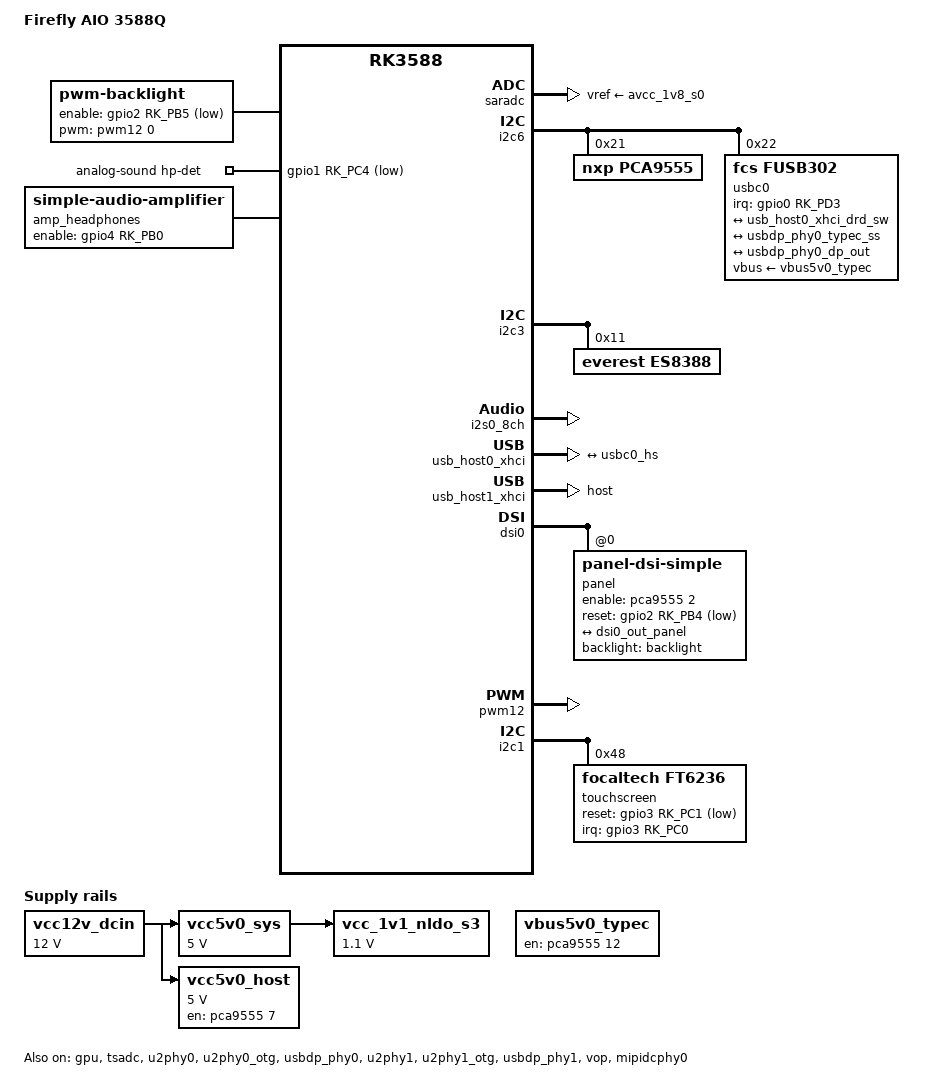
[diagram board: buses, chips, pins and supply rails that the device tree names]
/dts-v1/;

#include <dt-bindings/gpio/gpio.h>
#include <dt-bindings/input/input.h>
#include <dt-bindings/pinctrl/rockchip.h>
#include <dt-bindings/soc/rockchip,vop2.h>
#include <dt-bindings/usb/pd.h>

#include "rk3588-firefly-icore-3588q.dtsi"

/ {
	model = "Firefly AIO 3588Q";
	compatible = "firefly,icore-3588q", "rockchip,rk3588";

	aliases {
		mmc0 = &sdhci;
	};

	chosen {
		stdout-path = "serial2:1500000n8";
	};

	vcc12v_dcin: regulator-vcc12v-dcin {
		compatible = "regulator-fixed";
		regulator-always-on;
		regulator-boot-on;
		regulator-min-microvolt = <12000000>;
		regulator-max-microvolt = <12000000>;
		regulator-name = "vcc12v_dcin";
	};

	vcc5v0_sys: regulator-vcc5v0-sys {
		compatible = "regulator-fixed";
		regulator-always-on;
		regulator-boot-on;
		regulator-min-microvolt = <5000000>;
		regulator-max-microvolt = <5000000>;
		regulator-name = "vcc5v0_sys";
		vin-supply = <&vcc12v_dcin>;
	};

	vcc5v0_host: regulator-vcc5v0-host {
		compatible = "regulator-fixed";
		regulator-always-on;
		regulator-boot-on;
		regulator-min-microvolt = <5000000>;
		regulator-max-microvolt = <5000000>;
		regulator-name = "vcc5v0_host";
		enable-active-high;
		gpio = <&pca9555 7 GPIO_ACTIVE_HIGH>;//PCA_IO0_7 7
		vin-supply = <&vcc12v_dcin>;
	};

	vbus5v0_typec: vbus5v0-typec-pwr-en-regulator {
		compatible = "regulator-fixed";
		regulator-name = "vbus5v0_typec";
		enable-active-high;
		gpio = <&pca9555 12 GPIO_ACTIVE_HIGH>; //PCA_IO1_4 12
	};

	vcc_1v1_nldo_s3: regulator-vcc-1v1-nldo-s3 {
		compatible = "regulator-fixed";
		regulator-name = "vcc_1v1_nldo_s3";
		regulator-always-on;
		regulator-boot-on;
		regulator-min-microvolt = <1100000>;
		regulator-max-microvolt = <1100000>;
		vin-supply = <&vcc5v0_sys>;
	};

	backlight: backlight {
		compatible = "pwm-backlight";
        enable-gpios = <&gpio2 RK_PB5 GPIO_ACTIVE_LOW>;
		pwms = <&pwm12 0 25000 1>;
		brightness-levels = <0 8 16 32 64 128 160 200 255>;
		default-brightness-level = <8>;
	};

	analog-sound {
		compatible = "simple-audio-card";
		pinctrl-names = "default";
		pinctrl-0 = <&hp_detect>;
		simple-audio-card,aux-devs = <&amp_headphones>;
		simple-audio-card,format = "i2s";
		simple-audio-card,mclk-fs = <384>;
		simple-audio-card,name = "rockchip,es8388";
		simple-audio-card,hp-det-gpios = <&gpio1 RK_PC4 GPIO_ACTIVE_LOW>;
		simple-audio-card,pin-switches = "Headphones";
		simple-audio-card,routing =
			"Speaker", "LOUT2",
			"Speaker", "ROUT2",
			"Headphones Amplifier INL", "LOUT1",
			"Headphones Amplifier INR", "ROUT1",
			"Headphones", "Headphones Amplifier OUTL",
			"Headphones", "Headphones Amplifier OUTR",
			"LINPUT1", "Microphone Jack",
			"RINPUT1", "Microphone Jack",
			"LINPUT2", "Onboard Microphone",
			"RINPUT2", "Onboard Microphone";
		simple-audio-card,widgets =
			"Microphone", "Microphone Jack",
			"Microphone", "Onboard Microphone",
			"Headphone", "Headphones",
			"Speaker", "Speaker";

		simple-audio-card,cpu {
			sound-dai = <&i2s0_8ch>;
		};

		simple-audio-card,codec {
			sound-dai = <&es8388>;
			system-clock-frequency = <12288000>;
		};
	};

	/*
	 * this does not seem to be a proper "amplifier" but is just
	 * a way to control the GPIO pins to switch on or off the given
	 * sound output device
	 */
	amp_headphones: headphones-audio-amplifier {
		compatible = "simple-audio-amplifier";
		enable-gpios = <&gpio4 RK_PB0 GPIO_ACTIVE_HIGH>;
		pinctrl-names = "default";
		pinctrl-0 = <&headphone_amplifier_en>;
		sound-name-prefix = "Headphones Amplifier";
	};
};

&pinctrl {
	sound {
		hp_detect: hp-detect {
			rockchip,pins = <1 RK_PC4 RK_FUNC_GPIO &pcfg_pull_none>;
		};

		headphone_amplifier_en: headphone-amplifier-en {
			rockchip,pins = <4 RK_PB0 RK_FUNC_GPIO &pcfg_pull_none>;
		};

		speaker_amplifier_en: speaker-amplifier-en {
			rockchip,pins = <3 RK_PB2 RK_FUNC_GPIO &pcfg_pull_none>;
		};
	};

	usb-typec {
		usbc0_int: usbc0-int {
			rockchip,pins = <0 RK_PD3 RK_FUNC_GPIO &pcfg_pull_up>;
		};
	};
};

&saradc {
	vref-supply = <&avcc_1v8_s0>;
	status = "okay";
};

&gpu {
	mali-supply = <&vdd_gpu_s0>;
	sram-supply = <&vdd_gpu_mem_s0>;
	status = "okay";
};

&pd_gpu {
	domain-supply = <&vdd_gpu_s0>;
};

&i2c6 {
	status = "okay";

	pca9555: gpio@21 {
		compatible = "nxp,pca9555";
		reg = <0x21>;
		gpio-controller;
		#gpio-cells = <2>;
	};

	usbc0: usb-typec@22 {
		compatible = "fcs,fusb302";
		reg = <0x22>;
		interrupt-parent = <&gpio0>;
		interrupts = <RK_PD3 IRQ_TYPE_LEVEL_LOW>;
		pinctrl-names = "default";
		pinctrl-0 = <&usbc0_int>;
		vbus-supply = <&vbus5v0_typec>;
		status = "okay";

		connector {
			compatible = "usb-c-connector";
			data-role = "dual";
			label = "USB-C";
			op-sink-microwatt = <1000000>;
			/* fusb302 supports PD Rev 2.0 Ver 1.2 */
			pd-revision = /bits/ 8 <0x2 0x0 0x1 0x2>;
			power-role = "dual";
			sink-pdos = <PDO_FIXED(5000, 3000, PDO_FIXED_USB_COMM)>;
			source-pdos = <PDO_FIXED(5000, 2000, PDO_FIXED_USB_COMM)>;
			try-power-role = "source";
			typec-power-opmode = "1.5A";

			ports {
				#address-cells = <1>;
				#size-cells = <0>;

				port@0 {
					reg = <0>;
					usbc0_hs: endpoint {
						remote-endpoint = <&usb_host0_xhci_drd_sw>;
					};
				};

				port@1 {
					reg = <1>;
					usbc0_ss: endpoint {
						remote-endpoint = <&usbdp_phy0_typec_ss>;
					};
				};

				port@2 {
					reg = <2>;
					usbc0_sbu: endpoint {
						remote-endpoint = <&usbdp_phy0_dp_out>;
					};
				};
			};
		};
	};
};

/* thermal */
&tsadc {
	status = "okay";
};

/* es8388 audio codec */
&i2c3 {
	status = "okay";

	es8388: audio-codec@11 {
		compatible = "everest,es8388";
		reg = <0x11>;
		assigned-clocks = <&cru I2S0_8CH_MCLKOUT>;
		assigned-clock-rates = <12288000>;
		clocks = <&cru I2S0_8CH_MCLKOUT>;
		clock-names = "mclk";
		#sound-dai-cells = <0>;
	};
};

&i2s0_8ch {
	pinctrl-names = "default";
	pinctrl-0 = <&i2s0_lrck
	&i2s0_mclk
	&i2s0_sclk
	&i2s0_sdi0
	&i2s0_sdo0>;
	status = "okay";
};

/* usb */
&u2phy0 {
	status = "okay";
};

&u2phy0_otg {
	status = "okay";
};

&usbdp_phy0 {
	mode-switch;
	orientation-switch;
	sbu1-dc-gpios = <&gpio4 RK_PA6 GPIO_ACTIVE_HIGH>;
	sbu2-dc-gpios = <&gpio4 RK_PA7 GPIO_ACTIVE_HIGH>;
	status = "okay";

	port {
		#address-cells = <1>;
		#size-cells = <0>;

		usbdp_phy0_typec_ss: endpoint@0 {
			reg = <0>;
			remote-endpoint = <&usbc0_ss>;
		};

		usbdp_phy0_dp_in: endpoint@2 {
			reg = <2>;
			remote-endpoint = <&dp0_out_con>;
		};

		usbdp_phy0_dp_out: endpoint@3 {
			reg = <3>;
			remote-endpoint = <&usbc0_sbu>;
		};
	};
};

&usb_host0_xhci {
	usb-role-switch;
	status = "okay";

	port {
		usb_host0_xhci_drd_sw: endpoint {
			remote-endpoint = <&usbc0_hs>;
		};
	};
}

&u2phy1 {
	status = "okay";
};

&u2phy1_otg {
	status = "okay";
};

&usbdp_phy1 {
	status = "okay";
};

&usb_host1_xhci {
	dr_mode = "host";
	status = "okay";
};

/* display generator */
&vop_mmu {
	status = "okay";
};

&vop {
	status = "okay";
};

// mipi
&dsi0 {
	#address-cells = <1>;
	#size-cells = <0>;
	status = "okay";

	panel@0 {
		status = "okay";
		compatible = "panel-dsi-simple";
		reg = <0>;
		backlight = <&backlight>;

		enable-gpios = <&pca9555 2 GPIO_ACTIVE_HIGH>;
		reset-gpios = <&gpio2 RK_PB4 GPIO_ACTIVE_LOW>;

		enable-delay-ms = <50>;
		prepare-delay-ms = <200>;
		reset-delay-ms = <50>;
		init-delay-ms = <55>;
		unprepare-delay-ms = <50>;
		disable-delay-ms = <20>;
		dsi,flags = <(MIPI_DSI_MODE_VIDEO | MIPI_DSI_MODE_VIDEO_BURST | MIPI_DSI_MODE_LPM | MIPI_DSI_MODE_EOT_PACKET)>;
		dsi,format = <MIPI_DSI_FMT_RGB888>;
		dsi,lanes  = <4>;

		panel-init-sequence = [
			39 00 04 B9 F1 12 83
      		39 00 1C BA 33 81 05 F9 0E 0E 20 00 00 00 00 00 00 00 44 25 00 91 0A 00 00 02 4F D1 00 00 37
			39 00 05 B8 25 22 20 03
			39 00 04 BF 02 11 00
			39 00 0B B3 10 10 0A 50 03 FF 00 00 00 00
			39 00 0A C0 73 73 50 50 00 00 08 70 00
			15 00 02 BC 46
			15 00 02 CC 0B
			15 00 02 B4 80
			39 00 04 B2 3C 12 30
			39 00 0F E3 07 07 0B 0B 03 0B 00 00 00 00 FF 00 40 10
			39 00 0D C1 65 00 32 32 77 F1 CC CC 77 77 33 33
			39 00 03 B5 0A 0A
			39 00 03 B6 B7 B7
			39 00 40 E9 88 10 0A 10 0F A1 80 12 31 23 47 86 A1 80 47 08 04 44 00 00 00 00 04 44 00 00 00 00 75 31 88 88 88 1F 88 38 FF 58 88 64 20 88 88 88 0F 88 28 FF 48 88 00 00 00 00 00 00 00 00 00 00 00 00 00
			39 00 3E EA 00 1A 00 00 00 00 02 00 00 00 00 00 02 46 88 88 88 28 8F 08 FF 48 88 13 57 88 88 88 38 8F 18 FF 58 88 23 00 00 01 02 00 00 00 00 00 00 00 00 00 00 00 00 00 00 00 40 A1 80 00 00 00 00
			39 00 23 E0 00 03 06 2D 3E 3F 34 32 08 0C 0D 10 12 11 12 10 15 00 03 06 2D 3E 3F 34 32 08 0C 0D 10 12 11 12 10 15
			05 FF 01 11
			05 32 01 29
		];

		panel-exit-sequence = [
			05 00 01 28
			05 00 01 10
		];

		display-timings {
			native-mode = <&dsi0_timing0>;
			dsi0_timing0: timing0 {
				clock-frequency = <36750000>; // (720+4+26+40)*(720+6+20+30)*59.95
				hactive = <720>;
				vactive = <720>;
				hsync-len = <4>;
				hback-porch = <26>;
				hfront-porch = <40>;
				vsync-len = <6>;
				vback-porch = <20>;
				vfront-porch = <30>;
				hsync-active = <0>;
				vsync-active = <0>;
				de-active = <0>;
				pixelclk-active = <0>;
			};
		};

		port {
			mipi_panel_in: endpoint {
				remote-endpoint = <&dsi0_out_panel>;
			};
		};
	};
};

&dsi0_in {
	dsi0_in_vp3: endpoint {
		remote-endpoint = <&vp3_out_dsi0>;
	};
};

&dsi0_out {
	dsi0_out_panel: endpoint {
		remote-endpoint = <&mipi_panel_in>;
	};
};

&mipidcphy0 {
	status = "okay";
};

&pwm12 {
	pinctrl-0 = <&pwm12m1_pins>;
	status = "okay";
};

&vp3 {
	#address-cells = <1>;
	#size-cells = <0>;

	vp3_out_dsi0: endpoint@ROCKCHIP_VOP2_EP_MIPI0 {
		reg = <ROCKCHIP_VOP2_EP_MIPI0>;
		remote-endpoint = <&dsi0_in_vp3>;
	};
};

&i2c1{
	status = "okay";
	pinctrl-names = "default";
	pinctrl-0 = <&i2c1m2_xfer>;

	touchscreen@48 {
		compatible = "focaltech,ft6236";
		reg = <0x48>;
		interrupt-parent = <&gpio3>;
		interrupts = <RK_PC0 IRQ_TYPE_LEVEL_LOW>;
		reset-gpios = <&gpio3 RK_PC1 GPIO_ACTIVE_LOW>;
		touchscreen-size-x = <720>;
		touchscreen-size-y = <720>;
		wakeup-source;
	};
};
